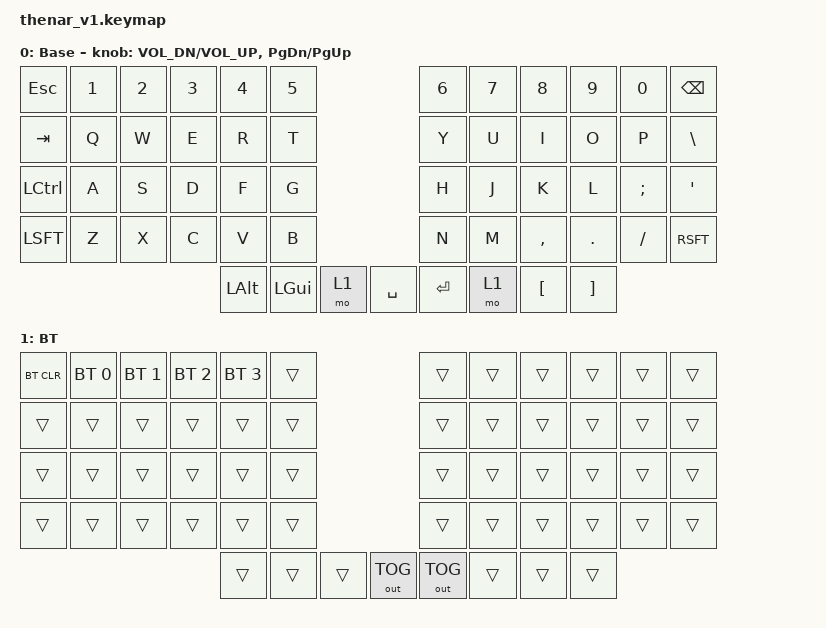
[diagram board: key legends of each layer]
// SPDX-License-Identifier: MIT
//
// Identical default keymap to rc1 - same key positions, same layout.
// Copy this into a personal zmk-config fork and customize from there.

#include <behaviors.dtsi>
#include <dt-bindings/zmk/keys.h>
#include <dt-bindings/zmk/bt.h>
#include <dt-bindings/zmk/outputs.h>

/ {
    keymap {
        compatible = "zmk,keymap";

        base_layer {
            display-name = "Base";
            bindings = <
&kp ESC   &kp N1   &kp N2 &kp N3 &kp N4 &kp N5                                         &kp N6 &kp N7 &kp N8    &kp N9  &kp N0   &kp BSPC
&kp TAB   &kp Q    &kp W  &kp E  &kp R  &kp T                                          &kp Y  &kp U  &kp I     &kp O   &kp P    &kp BSLH
&kp LCTL  &kp A    &kp S  &kp D  &kp F  &kp G                                          &kp H  &kp J  &kp K     &kp L   &kp SEMI &kp SQT
&kp LSFT  &kp Z    &kp X  &kp C  &kp V  &kp B                                          &kp N  &kp M  &kp COMMA &kp DOT &kp FSLH &kp RSFT
                                 &kp LALT &kp LGUI &mo 1 &kp SPACE  &kp ENTER &mo 1    &kp LBKT &kp RBKT
            >;
            sensor-bindings = <&inc_dec_kp C_VOL_DN C_VOL_UP &inc_dec_kp PG_DN PG_UP>;
        };

        bt_layer {
            display-name = "BT";
            bindings = <
&bt BT_CLR  &bt BT_SEL 0 &bt BT_SEL 1 &bt BT_SEL 2 &bt BT_SEL 3 &trans                                                       &trans &trans &trans &trans &trans &trans
&trans      &trans       &trans       &trans       &trans       &trans                                                       &trans &trans &trans &trans &trans &trans
&trans      &trans       &trans       &trans       &trans       &trans                                                       &trans &trans &trans &trans &trans &trans
&trans      &trans       &trans       &trans       &trans       &trans                                                       &trans &trans &trans &trans &trans &trans
                                                   &trans       &trans       &trans   &out OUT_TOG  &out OUT_TOG  &trans     &trans &trans
            >;
        };
    };
};
